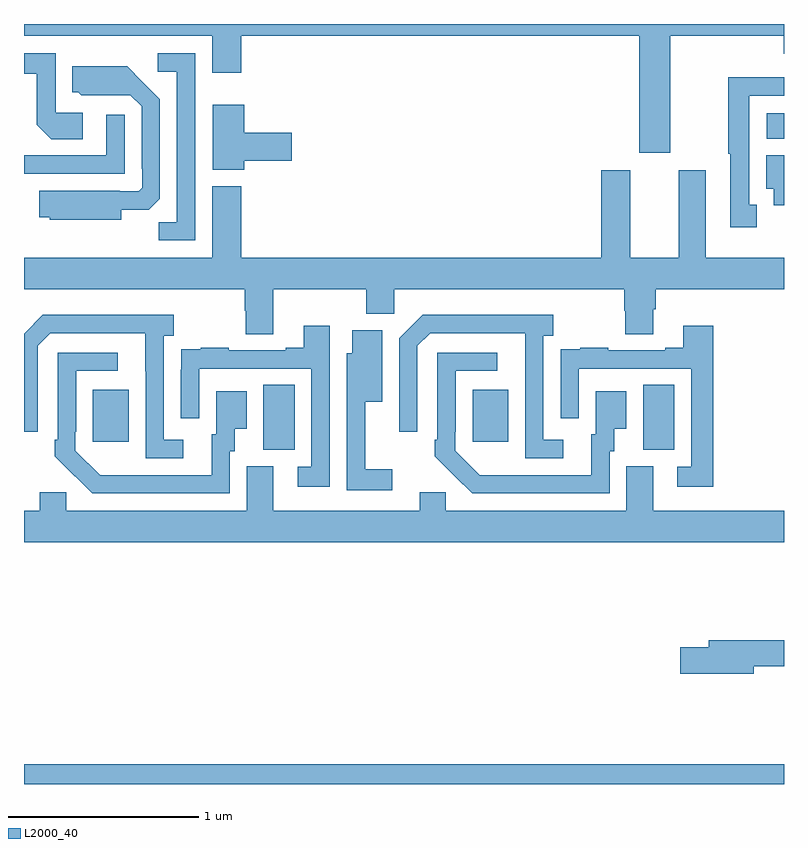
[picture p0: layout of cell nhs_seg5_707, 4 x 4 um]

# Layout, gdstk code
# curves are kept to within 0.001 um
import gdstk
lib = gdstk.Library(unit=1e-6, precision=1e-09)
def R(c, l, rs):  # rectangles x0, y0, x1, y1
    for r in rs: c.add(gdstk.rectangle(r[:2], r[2:], *l))
def P(c, l, *ps):  # polygons
    for p in ps: c.add(gdstk.Polygon(p, *l))
L2000_40 = (2000, 40)

nhs_seg5_707 = lib.new_cell('nhs_seg5_707')
R(nhs_seg5_707, L2000_40, [(155,876.799,159,876.904), (156.26,878.557,156.424,878.9), (158.258,878.557,158.422,878.9), (155.363,878.601,155.551,878.875), (157.361,878.601,157.549,878.875), (158.91,880.196,159,880.33)])
P(nhs_seg5_707, L2000_40, [(158.401,880.736),(158.999,880.736),(158.999,880.643),(159,880.643),(159,880.799),(155,880.799),(155,880.736),(155.99,880.736),(155.99,880.542),(156.143,880.542),(156.143,880.736),(158.237,880.736),(158.237,880.122),(158.401,880.122)],
  [(155.308,880.332),(155.166,880.332),(155.166,880.644),(155,880.644),(155,880.536),(155.067,880.536),(155.067,880.268),(155.143,880.192),(155.308,880.192)],
  [(155.901,880.644),(155.703,880.644),(155.703,880.548),(155.805,880.548),(155.805,879.755),(155.71,879.755),(155.71,879.66),(155.901,879.66)],
  [(155.512,879.821),(155.656,879.821),(155.715,879.88),(155.715,880.402),(155.543,880.576),(155.255,880.576),(155.255,880.44),(155.286,880.44),(155.302,880.424),(155.559,880.425),(155.619,880.365),(155.619,880.036),(155.622,880.036),(155.622,879.936),(155.604,879.918),(155.504,879.918),(155.504,879.922),(155.08,879.922),(155.08,879.782),(155.136,879.782),(155.136,879.77),(155.512,879.77)],
  [(158.857,879.849),(158.818,879.849),(158.818,880.422),(159,880.422),(159,880.518),(158.94,880.518),(158.94,880.52),(158.707,880.52),(158.707,880.117),(158.717,880.117),(158.717,879.729),(158.857,879.729)],
  [(156.16,880.079),(156.409,880.079),(156.409,880.226),(156.16,880.226),(156.16,880.375),(155.993,880.375),(155.993,880.031),(156.16,880.031)],
  [(155.529,880.321),(155.433,880.321),(155.433,880.107),(155,880.107),(155,880.011),(155.529,880.011)],
  [(159,880.108),(158.906,880.108),(158.906,879.932),(158.945,879.932),(158.945,879.845),(159,879.845)],
  [(156.313,879.404),(156.802,879.404),(156.802,879.273),(156.948,879.273),(156.948,879.404),(158.159,879.404),(158.159,879.291),(158.164,879.291),(158.164,879.166),(158.311,879.166),(158.311,879.298),(158.324,879.298),(158.324,879.404),(159,879.404),(159,879.568),(158.587,879.568),(158.587,880.03),(158.447,880.03),(158.447,879.568),(158.191,879.568),(158.191,880.03),(158.039,880.03),(158.039,879.568),(156.143,879.568),(156.143,879.946),(155.99,879.946),(155.99,879.568),(155,879.568),(155,879.404),(156.161,879.404),(156.161,879.291),(156.166,879.291),(156.166,879.166),(156.313,879.166)],
  [(157.837,878.61),(157.734,878.61),(157.734,879.158),(157.786,879.158),(157.786,879.268),(157.098,879.268),(156.975,879.145),(156.975,878.652),(157.071,878.652),(157.071,879.105),(157.137,879.171),(157.637,879.171),(157.638,878.514),(157.837,878.514)],
  [(155.839,878.61),(155.736,878.61),(155.736,879.158),(155.788,879.158),(155.788,879.268),(155.098,879.268),(155,879.17),(155,878.652),(155.073,878.652),(155.073,879.105),(155.139,879.171),(155.639,879.171),(155.64,878.514),(155.839,878.514)],
  [(158.627,879.211),(158.471,879.211),(158.471,879.094),(158.375,879.094),(158.375,879.081),(158.075,879.081),(158.075,879.094),(157.927,879.094),(157.927,879.087),(157.825,879.087),(157.825,878.978),(157.824,878.978),(157.824,878.724),(157.92,878.724),(157.92,878.985),(158.511,878.985),(158.511,878.469),(158.439,878.469),(158.439,878.364),(158.627,878.364)],
  [(156.609,879.211),(156.473,879.211),(156.473,879.094),(156.377,879.094),(156.377,879.081),(156.077,879.081),(156.077,879.094),(155.929,879.094),(155.929,879.087),(155.827,879.087),(155.827,878.978),(155.826,878.978),(155.826,878.724),(155.922,878.724),(155.922,878.985),(156.513,878.985),(156.513,878.469),(156.441,878.469),(156.441,878.364),(156.609,878.364)],
  [(156.937,878.455),(156.797,878.455),(156.797,878.81),(156.886,878.81),(156.886,879.187),(156.728,879.187),(156.728,879.067),(156.699,879.067),(156.699,878.346),(156.937,878.346)],
  [(158.082,878.55),(158.107,878.55),(158.107,878.669),(158.17,878.669),(158.17,878.866),(158.009,878.866),(158.009,878.64),(157.985,878.64),(157.985,878.424),(157.398,878.425),(157.269,878.553),(157.269,878.653),(157.272,878.653),(157.272,878.973),(157.492,878.973),(157.492,879.069),(157.176,879.069),(157.176,878.611),(157.161,878.611),(157.161,878.523),(157.358,878.328),(158.082,878.328)],
  [(156.084,878.55),(156.109,878.55),(156.109,878.669),(156.172,878.669),(156.172,878.866),(156.011,878.866),(156.011,878.64),(155.987,878.64),(155.987,878.424),(155.4,878.425),(155.271,878.553),(155.271,878.653),(155.274,878.653),(155.274,878.973),(155.494,878.973),(155.494,879.069),(155.178,879.069),(155.178,878.611),(155.163,878.611),(155.163,878.523),(155.36,878.328),(156.084,878.328)],
  [(159,878.236),(158.311,878.236),(158.311,878.472),(158.171,878.472),(158.171,878.236),(157.221,878.236),(157.221,878.334),(157.082,878.334),(157.082,878.236),(156.313,878.236),(156.313,878.472),(156.173,878.472),(156.173,878.236),(155.223,878.236),(155.223,878.334),(155.084,878.334),(155.084,878.236),(155,878.236),(155,878.072),(159,878.072)],
  [(158.842,877.42),(159,877.42),(159,877.556),(158.603,877.556),(158.603,877.52),(158.454,877.52),(158.454,877.378),(158.842,877.378)])

lib.write_gds('nhs_seg5_707.gds')
